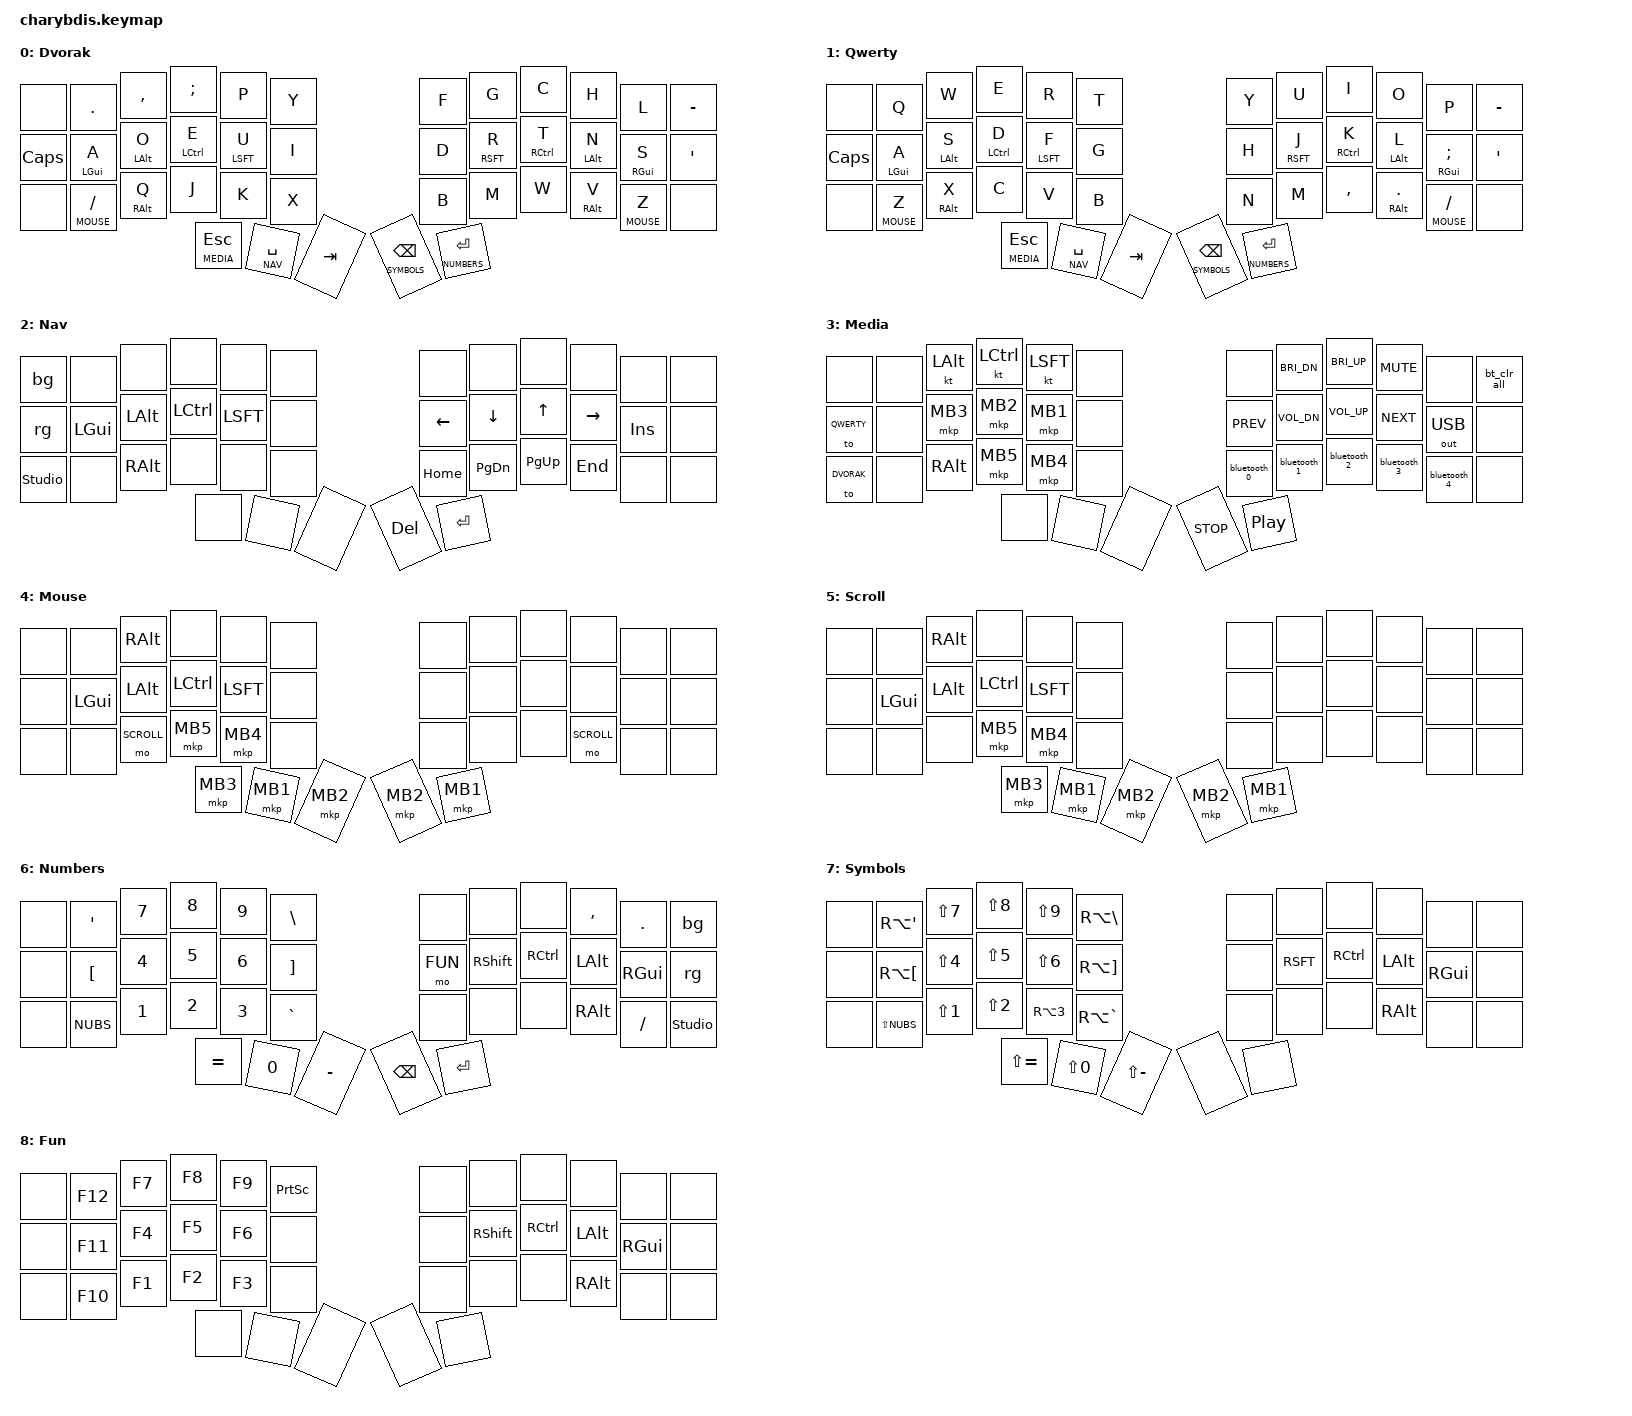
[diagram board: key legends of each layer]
/*
 * Copyright (c) 2020 The ZMK Contributors
 *
 * SPDX-License-Identifier: MIT
 */

#include <behaviors.dtsi>
#include <dt-bindings/zmk/keys.h>
#include <dt-bindings/zmk/bt.h>
#include <dt-bindings/zmk/outputs.h>
#include <dt-bindings/zmk/pointing.h>

#define DVORAK  0
#define QWERTY  1
#define NAV     2
#define MEDIA   3
#define MOUSE   4
#define SCROLL  5
#define NUMBERS 6
#define SYMBOLS 7
#define FUN     8

/ {
    macros {
        bt_0: bt_0 {
            compatible = "zmk,behavior-macro";
            #binding-cells = <0>;
            bindings = <&out OUT_BLE &bt BT_SEL 0>;
        };

        bt_1: bt_1 {
            compatible = "zmk,behavior-macro";
            #binding-cells = <0>;
            bindings = <&out OUT_BLE &bt BT_SEL 1>;
        };

        bt_2: bt_2 {
            compatible = "zmk,behavior-macro";
            #binding-cells = <0>;
            bindings = <&out OUT_BLE &bt BT_SEL 2>;
        };

        bt_3: bt_3 {
            compatible = "zmk,behavior-macro";
            #binding-cells = <0>;
            bindings = <&out OUT_BLE &bt BT_SEL 3>;
        };

        bt_4: bt_4 {
            compatible = "zmk,behavior-macro";
            #binding-cells = <0>;
            bindings = <&out OUT_BLE &bt BT_SEL 4>;
        };
    };

    behaviors {
        hrm: home_row_mod {
            compatible = "zmk,behavior-hold-tap";
            bindings = <&kp>, <&kp>;

            #binding-cells = <2>;
            tapping-term-ms = <200>;
            quick-tap-ms = <200>;
            require-prior-idle-ms = <150>;
            flavor = "tap-preferred";
        };

        hrml: home_row_mod_layer {
            compatible = "zmk,behavior-hold-tap";
            bindings = <&mo>, <&kp>;

            #binding-cells = <2>;
            tapping-term-ms = <200>;
            quick-tap-ms = <200>;
            require-prior-idle-ms = <150>;
            flavor = "tap-preferred";
        };

        ltq: layer_tap_quick {
            compatible = "zmk,behavior-hold-tap";
            bindings = <&mo>, <&kp>;

            #binding-cells = <2>;
            tapping-term-ms = <200>;
            quick-tap-ms = <200>;
            require-prior-idle-ms = <0>;
        };

        bluetooth_0: bluetooth_0 {
            compatible = "zmk,behavior-tap-dance";
            #binding-cells = <0>;
            bindings = <&bt_0>, <&bt BT_DISC 0>;
        };

        bluetooth_1: bluetooth_1 {
            compatible = "zmk,behavior-tap-dance";
            #binding-cells = <0>;
            bindings = <&bt_1>, <&bt BT_DISC 1>;
        };

        bluetooth_2: bluetooth_2 {
            compatible = "zmk,behavior-tap-dance";
            #binding-cells = <0>;
            bindings = <&bt_2>, <&bt BT_DISC 2>;
        };

        bluetooth_3: bluetooth_3 {
            compatible = "zmk,behavior-tap-dance";
            #binding-cells = <0>;
            bindings = <&bt_3>, <&bt BT_DISC 3>;
        };

        bluetooth_4: bluetooth_4 {
            compatible = "zmk,behavior-tap-dance";
            #binding-cells = <0>;
            bindings = <&bt_4>, <&bt BT_DISC 4>;
        };

        bt_clr_all: bluetooth_clr_all {
            compatible = "zmk,behavior-tap-dance";
            #binding-cells = <0>;
            bindings = <&bt BT_CLR>, <&bt BT_CLR_ALL>;
        };

        bg: bg {
            compatible = "zmk,behavior-tap-dance";
            #binding-cells = <0>;
            bindings = <&none>, <&bootloader>;
        };

        rg: rg {
            compatible = "zmk,behavior-tap-dance";
            #binding-cells = <0>;
            bindings = <&none>, <&sys_reset>;
        };
    };

    keymap {
        compatible = "zmk,keymap";

        Dvorak {
            bindings = <
                &none       &kp DOT             &kp COMMA   &kp SEMI        &kp P           &kp Y   &kp F                   &kp G               &kp C       &kp H       &kp L           &kp MINUS
                &kp CAPS    &hrm LGUI A         &hrm LALT O &hrm LCTL E     &hrm LSFT U     &kp I   &kp D                   &hrm RSFT R         &hrm RCTL T &hrm LALT N &hrm RGUI S     &kp SQT
                &none       &hrml MOUSE FSLH    &hrm RALT Q &kp J           &kp K           &kp X   &kp B                   &kp M               &kp W       &hrm RALT V &hrml MOUSE Z   &none
                                                            &ltq MEDIA ESC  &ltq NAV SPACE  &kp TAB &ltq SYMBOLS BACKSPACE  &ltq NUMBERS RETURN
            >;
        };

        Qwerty {
            bindings = <
                &none       &kp Q            &kp W      &kp E           &kp R           &kp T   &kp Y                   &kp U               &kp I       &kp O           &kp P               &kp MINUS
                &kp CAPS    &hrm LGUI A     &hrm LALT S &hrm LCTL D     &hrm LSFT F     &kp G   &kp H                   &hrm RSFT J         &hrm RCTL K &hrm LALT L     &hrm RGUI SEMI      &kp SQT
                &none       &hrml MOUSE Z   &hrm RALT X &kp C           &kp V           &kp B   &kp N                   &kp M               &kp COMMA   &hrm RALT DOT   &hrml MOUSE FSLH    &none
                                                        &ltq MEDIA ESC  &ltq NAV SPACE  &kp TAB &ltq SYMBOLS BACKSPACE  &ltq NUMBERS RETURN
            >;
        };

        Nav {
            bindings = <
                &bg             &none       &none       &none       &none       &none   &none       &none       &none       &none       &none   &none
                &rg             &kp LGUI    &kp LALT    &kp LCTL    &kp LSFT    &none   &kp LEFT    &kp DOWN    &kp UP      &kp RIGHT   &kp INS &none
                &studio_unlock  &none       &kp RALT    &none       &none       &none   &kp HOME    &kp PG_DN   &kp PG_UP   &kp END     &none   &none
                                                        &none       &none       &none   &kp DEL     &kp RETURN
            >;
        };

        Media {
            bindings = <
                &none       &none   &kt LALT    &kt LCTL    &kt LSFT    &none   &none           &kp C_BRI_DN        &kp C_BRI_UP    &kp C_MUTE      &none           &bt_clr_all
                &to QWERTY  &none   &mkp MB3    &mkp MB2    &mkp MB1    &none   &kp C_PREV      &kp C_VOL_DN        &kp C_VOLUME_UP &kp C_NEXT      &out OUT_USB    &none
                &to DVORAK  &none   &kp RALT    &mkp MB5    &mkp MB4    &none   &bluetooth_0    &bluetooth_1        &bluetooth_2    &bluetooth_3    &bluetooth_4    &none
                                                &none       &none       &none   &kp C_STOP      &kp C_PLAY_PAUSE
            >;
        };

        Mouse {
            bindings = <
                &none   &none       &kp RALT    &none       &none       &none       &none       &none       &none   &none       &none   &none
                &none   &kp LGUI    &kp LALT    &kp LCTL    &kp LSFT    &none       &none       &none       &none   &none       &none   &none
                &none   &none       &mo SCROLL  &mkp MB5    &mkp MB4    &none       &none       &none       &none   &mo SCROLL  &none   &none
                                                &mkp MB3    &mkp MB1    &mkp MB2    &mkp MB2    &mkp MB1
            >;
        };

        Scroll {
            bindings = <
                &none   &none       &kp RALT    &none       &none       &none       &none       &none       &none   &none   &none   &none
                &none   &kp LGUI    &kp LALT    &kp LCTL    &kp LSFT    &none       &none       &none       &none   &none   &none   &none
                &none   &none       &none       &mkp MB5    &mkp MB4    &none       &none       &none       &none   &none   &none   &none
                                                &mkp MB3    &mkp MB1    &mkp MB2    &mkp MB2    &mkp MB1
            >;
        };

        Numbers {
            bindings = <
                &none   &kp APOS    &kp N7  &kp N8      &kp N9  &kp BSLH    &none           &none       &none       &kp COMMA   &kp DOT     &bg
                &none   &kp LBKT    &kp N4  &kp N5      &kp N6  &kp RBKT    &mo FUN         &kp RSHFT   &kp RCTRL   &kp LALT    &kp RGUI    &rg
                &none   &kp NUBS    &kp N1  &kp N2      &kp N3  &kp GRAVE   &none           &none       &none       &kp RALT    &kp FSLH    &studio_unlock
                                            &kp EQUAL   &kp N0  &kp MINUS   &kp BACKSPACE   &kp ENTER
            >;
        };

        Symbols {
            bindings = <
                &none &kp RA(APOS)  &kp LS(N7)  &kp LS(N8)    &kp LS(N9)  &kp RA(BSLH)  &none &none     &none     &none     &none     &none
                &none &kp RA(LBKT)  &kp LS(N4)  &kp LS(N5)    &kp LS(N6)  &kp RA(RBKT)  &none &kp RSFT  &kp RCTRL &kp LALT  &kp RGUI  &none
                &none &kp LS(NUBS)  &kp LS(N1)  &kp LS(N2)    &kp RA(N3)  &kp RA(GRAVE) &none &none     &none     &kp RALT  &none     &none
                                                &kp LS(EQUAL) &kp LS(N0)  &kp LS(MINUS) &none &none
            >;
        };

        Fun {
            bindings = <
                &none   &kp F12 &kp F7  &kp F8  &kp F9  &kp PRINTSCREEN &none   &none       &none       &none       &none       &none
                &none   &kp F11 &kp F4  &kp F5  &kp F6  &none           &none   &kp RSHFT   &kp RCTRL   &kp LALT    &kp RGUI    &none
                &none   &kp F10 &kp F1  &kp F2  &kp F3  &none           &none   &none       &none       &kp RALT    &none       &none
                                        &none   &none   &none           &none   &none
            >;
        };
    };
};
